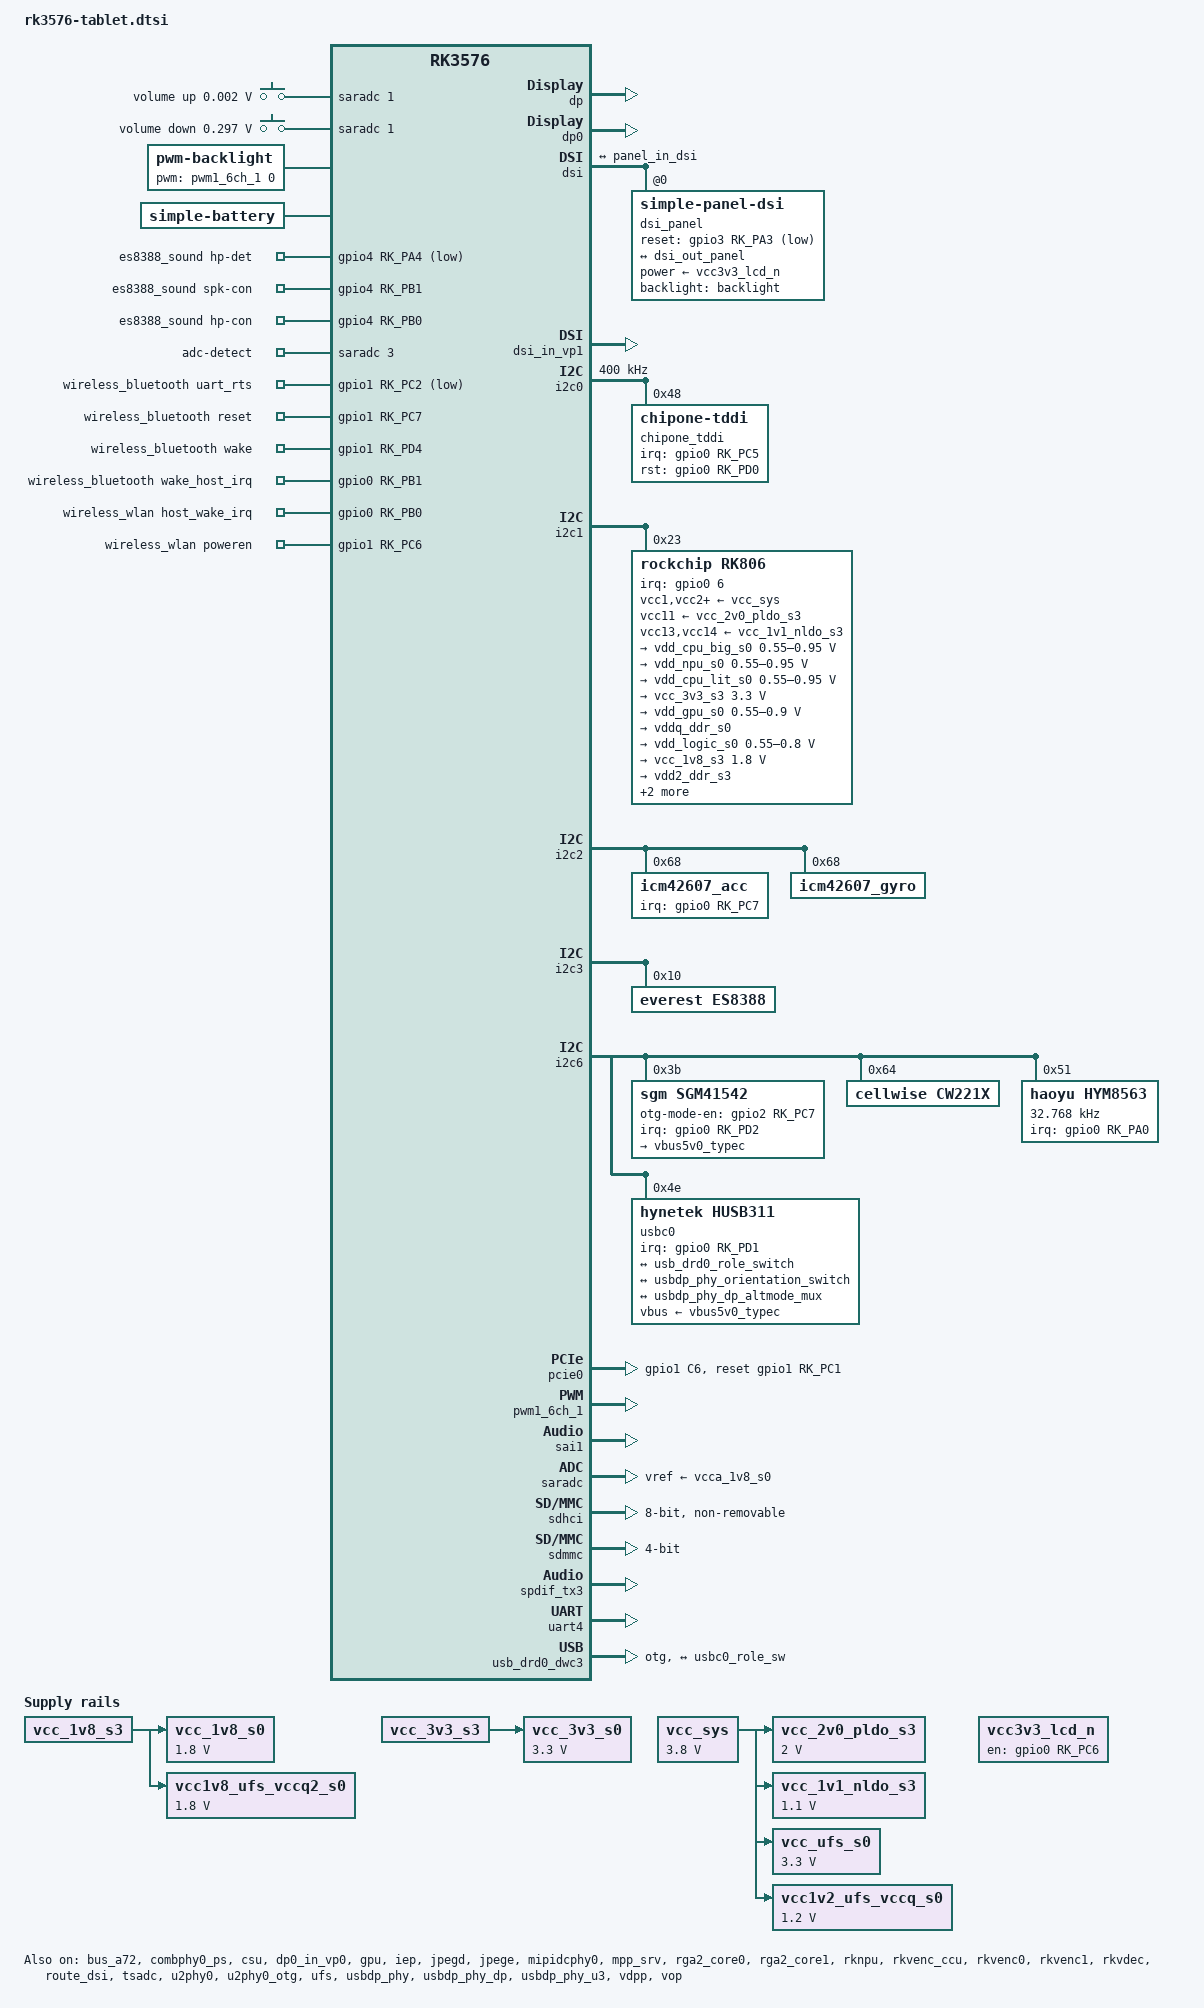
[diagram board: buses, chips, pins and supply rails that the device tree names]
// SPDX-License-Identifier: (GPL-2.0+ OR MIT)
/*
 * Copyright (c) 2024 Rockchip Electronics Co., Ltd.
 *
 */

/dts-v1/;

#include <dt-bindings/gpio/gpio.h>
#include <dt-bindings/pwm/pwm.h>
#include <dt-bindings/pinctrl/rockchip.h>
#include <dt-bindings/input/rk-input.h>
#include <dt-bindings/display/drm_mipi_dsi.h>
#include <dt-bindings/display/rockchip_vop.h>
#include <dt-bindings/sensor-dev.h>
#include <dt-bindings/usb/pd.h>
#include "rk3576.dtsi"

/ {
	adc_keys: adc-keys {
		compatible = "adc-keys";
		io-channels = <&saradc 1>;
		io-channel-names = "buttons";
		keyup-threshold-microvolt = <1800000>;
		poll-interval = <100>;

		vol-up-key {
			label = "volume up";
			linux,code = <KEY_VOLUMEUP>;
			press-threshold-microvolt = <1750>;
		};

		vol-down-key {
			label = "volume down";
			linux,code = <KEY_VOLUMEDOWN>;
			press-threshold-microvolt = <297500>;
		};
	};

	backlight: backlight {
		compatible = "pwm-backlight";
		pwms = <&pwm1_6ch_1 0 25000 0>;
		brightness-levels = <
			  0  20  20  21  21  22  22  23
			 23  24  24  25  25  26  26  27
			 27  28  28  29  29  30  30  31
			 31  32  32  33  33  34  34  35
			 35  36  36  37  37  38  38  39
			 40  41  42  43  44  45  46  47
			 48  49  50  51  52  53  54  55
			 56  57  58  59  60  61  62  63
			 64  65  66  67  68  69  70  71
			 72  73  74  75  76  77  78  79
			 80  81  82  83  84  85  86  87
			 88  89  90  91  92  93  94  95
			 96  97  98  99 100 101 102 103
			104 105 106 107 108 109 110 111
			112 113 114 115 116 117 118 119
			120 121 122 123 124 125 126 127
			128 129 130 131 132 133 134 135
			136 137 138 139 140 141 142 143
			144 145 146 147 148 149 150 151
			152 153 154 155 156 157 158 159
			160 161 162 163 164 165 166 167
			168 169 170 171 172 173 174 175
			176 177 178 179 180 181 182 183
			184 185 186 187 188 189 190 191
			192 193 194 195 196 197 198 199
			200 201 202 203 204 205 206 207
			208 209 210 211 212 213 214 215
			216 217 218 219 220 221 222 223
			224 225 226 227 228 229 230 231
			232 233 234 235 236 237 238 239
			240 241 242 243 244 245 246 247
			248 249 250 251 252 253 254 255
		>;
		default-brightness-level = <200>;
	};

	bat: battery {
		compatible = "simple-battery";
		charge-full-design-microamp-hours = <8000000>;
		precharge-current-microamp = <180000>;
		precharge-upper-limit-microvolt = <3600000>;
		charge-term-current-microamp = <300000>;
		constant-charge-current-max-microamp = <1600000>;
		constant-charge-voltage-max-microvolt = <4350000>;
		factory-internal-resistance-micro-ohms = <180>;
		voltage-max-design-microvolt = <4350000>;
		voltage-min-design-microvolt = <3000000>;
	};

	charge-animation {
		compatible = "rockchip,uboot-charge";
		rockchip,uboot-charge-on = <1>;
		rockchip,android-charge-on = <0>;
		rockchip,uboot-low-power-voltage = <3450>;
		rockchip,screen-on-voltage = <3500>;
		rockchip,uboot-exit-charge-level = <2>;
		rockchip,uboot-exit-charge-voltage = <3500>;
		rockchip,uboot-exit-charge-auto = <1>;
		status = "okay";
	};

	charger-manager {
		compatible = "rockchip-charger-manager";
		cm-name = "battery";
		cm-poll-mode = <2>;
		cm-poll-interval = <1000>;

		cm-chargers = "sgm4154x-charger";
		cm-chargers-phandle = <&usbc0>;
		cm-fuel-gauge = "cw221X-bat";
		monitored-battery = <&bat>;
		extcon = <&u2phy0>;
		cm-jeita-temp-charge-table = <10 45 1600000 4350000>;
	};

	dp0_sound: dp0-sound {
		compatible = "rockchip,hdmi";
		rockchip,mclk-fs = <512>;
		rockchip,card-name = "rockchip-dp0";
		rockchip,cpu = <&spdif_tx3>;
		rockchip,codec = <&dp0 1>;
		rockchip,jack-det;
	};

	es8388_sound: es8388-sound {
		status = "okay";
		compatible = "rockchip,multicodecs-card";
		rockchip,card-name = "rockchip-es8388";
		hp-det-gpio = <&gpio4 RK_PA4 GPIO_ACTIVE_LOW>;
		io-channels = <&saradc 3>;
		io-channel-names = "adc-detect";
		keyup-threshold-microvolt = <1800000>;
		poll-interval = <100>;
		spk-con-gpio = <&gpio4 RK_PB1 GPIO_ACTIVE_HIGH>;
		hp-con-gpio = <&gpio4 RK_PB0 GPIO_ACTIVE_HIGH>;
		rockchip,format = "i2s";
		rockchip,mclk-fs = <256>;
		rockchip,cpu = <&sai1>;
		rockchip,codec = <&es8388>;
		rockchip,audio-routing =
			"Headphone", "LOUT1",
			"Headphone", "ROUT1",
			"Speaker", "LOUT2",
			"Speaker", "ROUT2",
			"Headphone", "Headphone Power",
			"Headphone", "Headphone Power",
			"Speaker", "Speaker Power",
			"Speaker", "Speaker Power",
			"LINPUT1", "Main Mic",
			"LINPUT2", "Main Mic",
			"RINPUT1", "Headset Mic",
			"RINPUT2", "Headset Mic";
		pinctrl-names = "default";
		pinctrl-0 = <&hp_det>;
		play-pause-key {
			label = "playpause";
			linux,code = <KEY_PLAYPAUSE>;
			press-threshold-microvolt = <2000>;
		};
	};

	vcc_sys: vcc-sys {
		compatible = "regulator-fixed";
		regulator-name = "vcc_sys";
		regulator-always-on;
		regulator-boot-on;
		regulator-min-microvolt = <3800000>;
		regulator-max-microvolt = <3800000>;
	};

	vcc_2v0_pldo_s3: vcc-2v0-pldo-s3 {
		compatible = "regulator-fixed";
		regulator-name = "vcc_2v0_pldo_s3";
		regulator-boot-on;
		regulator-always-on;
		regulator-min-microvolt = <2000000>;
		regulator-max-microvolt = <2000000>;
		vin-supply = <&vcc_sys>;
	};

	vcc_1v1_nldo_s3: vcc-1v1-nldo-s3 {
		compatible = "regulator-fixed";
		regulator-name = "vcc_1v1_nldo_s3";
		regulator-boot-on;
		regulator-always-on;
		regulator-min-microvolt = <1100000>;
		regulator-max-microvolt = <1100000>;
		vin-supply = <&vcc_sys>;
	};

	vcc_1v8_s0: vcc-1v8-s0 {
		compatible = "regulator-fixed";
		regulator-name = "vcc_1v8_s0";
		regulator-boot-on;
		regulator-always-on;
		regulator-min-microvolt = <1800000>;
		regulator-max-microvolt = <1800000>;
		vin-supply = <&vcc_1v8_s3>;
	};

	vcc_3v3_s0: vcc-3v3-s0 {
		compatible = "regulator-fixed";
		regulator-name = "vcc_3v3_s0";
		regulator-boot-on;
		regulator-always-on;
		regulator-min-microvolt = <3300000>;
		regulator-max-microvolt = <3300000>;
		vin-supply = <&vcc_3v3_s3>;
	};

	vcc3v3_lcd_n: vcc3v3-lcd0-n {
		compatible = "regulator-fixed";
		regulator-name = "vcc3v3_lcd_n";
		regulator-boot-on;
		enable-active-high;
		gpio = <&gpio0 RK_PC6 GPIO_ACTIVE_HIGH>;
		regulator-state-mem {
			regulator-off-in-suspend;
		};
	};

	vcc_ufs_s0: vcc-ufs-s0 {
		compatible = "regulator-fixed";
		regulator-name = "vcc_ufs_s0";
		regulator-boot-on;
		regulator-always-on;
		regulator-min-microvolt = <3300000>;
		regulator-max-microvolt = <3300000>;
		vin-supply = <&vcc_sys>;
	};

	vcc1v8_ufs_vccq2_s0: vcc1v8-ufs-vccq2-s0 {
		compatible = "regulator-fixed";
		regulator-name = "vcc1v8_ufs_vccq2_s0";
		regulator-boot-on;
		regulator-always-on;
		regulator-min-microvolt = <1800000>;
		regulator-max-microvolt = <1800000>;
		vin-supply = <&vcc_1v8_s3>;
	};

	vcc1v2_ufs_vccq_s0: vcc1v2-ufs-vccq-s0 {
		compatible = "regulator-fixed";
		regulator-name = "vcc1v2_ufs_vccq_s0";
		regulator-boot-on;
		regulator-always-on;
		regulator-min-microvolt = <1200000>;
		regulator-max-microvolt = <1200000>;
		vin-supply = <&vcc_sys>;
	};

	wireless_bluetooth: wireless-bluetooth {
		compatible = "bluetooth-platdata";
		bt_port = "/dev/ttyS4";
		uart_rts_gpios = <&gpio1 RK_PC2 GPIO_ACTIVE_LOW>;
		pinctrl-names = "default", "rts_gpio";
		pinctrl-0 = <&uart4m1_rtsn>;
		pinctrl-1 = <&uart4_gpios>;
		BT,reset_gpio    = <&gpio1 RK_PC7 GPIO_ACTIVE_HIGH>;
		BT,wake_gpio     = <&gpio1 RK_PD4 GPIO_ACTIVE_HIGH>;
		BT,wake_host_irq = <&gpio0 RK_PB1 GPIO_ACTIVE_HIGH>;
		status = "okay";
	};

	wireless_wlan: wireless-wlan {
		compatible = "wlan-platdata";
		wifi_chip_type = "ap6275p";
		pinctrl-names = "default";
		pinctrl-0 = <&wifi_host_wake_irq>;
		WIFI,host_wake_irq = <&gpio0 RK_PB0 GPIO_ACTIVE_HIGH>;
		WIFI,poweren_gpio = <&gpio1 RK_PC6 GPIO_ACTIVE_HIGH>;
		status = "okay";
	};
};

&bus_a72 {
	bus-supply = <&vdd_logic_s0>;
	pvtm-supply = <&vdd_logic_s0>;
	status = "okay";
};

&combphy0_ps {
	status = "okay";
};

&cpu_l0 {
	cpu-supply = <&vdd_cpu_lit_s0>;
};

&cpu_b0 {
	cpu-supply = <&vdd_cpu_big_s0>;
};

&csu {
	status = "okay";
};

&dp {
	status = "okay";
};

&dp0 {
	status = "okay";
};

&dp0_in_vp0 {
	status = "okay";
};

&dsi {
	status = "okay";
	// auto-calculation-mode;
	rockchip,lane-rate = <1150>;
	dsi_panel: panel@0 {
		status = "okay";
		compatible = "simple-panel-dsi";
		reg = <0>;
		backlight = <&backlight>;
		power-supply = <&vcc3v3_lcd_n>;
		//enable-gpios = <&gpio0 RK_PC6 GPIO_ACTIVE_HIGH>;
		reset-gpios = <&gpio3 RK_PA3 GPIO_ACTIVE_LOW>;

		pinctrl-names = "default";
		pinctrl-0 = <&lcd_enable_gpio>, <&lcd_rst_gpio>;

		prepare-delay-ms = <40>;
		reset-delay-ms = <60>;
		init-delay-ms = <80>;
		stbyb-delay-ms = <20>;
		enable-delay-ms = <60>;
		disable-delay-ms = <20>;
		unprepare-delay-ms = <20>;
		width-mm = <135>;
		height-mm = <216>;
		dsi,flags = <(MIPI_DSI_MODE_VIDEO | MIPI_DSI_MODE_VIDEO_BURST |
			      MIPI_DSI_MODE_LPM | MIPI_DSI_MODE_NO_EOT_PACKET | MIPI_DSI_CLOCK_NON_CONTINUOUS)>;
		dsi,format = <MIPI_DSI_FMT_RGB888>;
		dsi,lanes  = <4>;
		panel-init-sequence = [
			39 00 03 F0 5A 59
			39 00 03 F1 A5 A6
			39 00 1F B2 06 05 89 8A 77 44 85 89 22 B7 B7 B7 B7 B7 B7 B7 B7 B7 B7 B7 B7 00 00 00 00 00 00 00 55 11
			39 00 1E B3 73 05 01 05 81 B7 00 00 B7 00 00 11 34 01 01 01 01 00 00 00 00 00 00 00 03 06 80 80 01
			39 00 20 B4 0D 1F 0D 1F 56 26 01 3B 00 22 00 22 00 00 00 01 02 13 20 30 05 90 23 20 40 11 10 20 00 00 00
			39 00 20 B5 25 24 81 00 00 A8 A9 00 0C 0D 0E 0F 10 11 12 13 23 22 00 00 00 00 00 00 00 00 00 00 FF FF FC
			39 00 20 B6 25 24 81 00 00 A8 A9 00 0C 0D 0E 0F 10 11 12 13 23 22 00 00 00 00 00 00 00 00 00 00 FF FF FC
			39 00 1F B7 00 03 00 00 00 00 00 00 00 00 00 00 00 00 00 00 00 00 00 00 00 00 00 00 00 AA AA AA AA A0
			39 00 1F B8 00 03 00 00 00 00 00 00 00 00 00 00 00 00 00 00 00 00 00 00 00 00 00 00 00 AA AA AA AA A0
			39 00 1A B9 01 55 55 55 55 55 50 55 55 55 55 55 50 55 55 55 55 55 50 55 55 55 55 55 50
			39 00 10 BB 01 02 03 0A 04 13 14 12 16 5C 00 15 16 03 00
			39 00 1A BC FE F8 F0 00 00 00 00 04 00 05 80 02 23 00 C9 99 99 00 C4 09 C3 86 03 2E 11
			39 00 08 BD 00 23 42 52 52 1F 00
			39 00 18 BE 5C 48 64 46 0A 88 58 33 33 33 93 00 DD DD 00 00 00 00 B2 AF B2 AF 00
			39 00 0B BF 0C 19 0C 19 00 11 22 04 5D 07
			39 00 17 C0 40 90 17 12 34 F5 67 89 FF FF FF FF FF 3F 00 FF 00 CC 02 00 01 B3
			39 00 17 C1 00 96 00 28 00 28 04 28 28 04 C7 80 0F 00 C1 22 7F 80 10 FF 0F E7
			15 00 02 C2 00
			39 00 21 C3 00 FF 42 4D 01 00 00 00 00 00 00 00 00 B9 10 10 2A 2A 2A 2A 2A 2A 2A 2A 40 00 00 00 00 00 00 00
			39 00 0F C4 0C 35 28 49 00 3F 00 50 00 1F 00 A2 F0 E7
			39 00 21 C5 03 13 10 56 5D 38 04 05 08 04 19 00 B4 2C 2B 2B AF AF 20 00 02 00 80 0C 0C 06 13 64 FF 03 20 FF
			39 00 08 C8 42 00 48 EC E0 00 23
			39 00 05 D5 01 30 D8 10
			39 00 07 D7 3F 04 0A 00 00 0E
			//39 01 04 89 57 57 11
			39 00 1E C7 76 54 32 22 34 56 77 77 20 76 54 32 22 34 56 77 77 20 42 00 21 FF FF 04 04 03 0E 07 00
			39 00 21 80 E8 D5 B8 A0 8A 77 67 59 4C 20 FD E1 C9 B0 99 6F 4C 26 FF FC D6 AF 85 54 16 D3 AC 76 6A 59 46 37
			39 00 21 81 E8 D5 B5 9B 86 73 63 54 46 1A F8 DC C4 AB 94 6B 48 21 FA F8 D2 AB 81 51 14 D1 AA 74 68 56 44 36
			39 00 21 82 E8 D5 B6 9D 88 75 65 56 49 1D FA DE C6 AD 96 6D 4A 23 FC FA D4 AD 83 52 15 D2 AB 75 69 57 45 36
			39 00 1A 83 09 2C 1D 0A 00 2B 1C 09 00 2B 1C 09 00 28 18 08 00 28 18 08 00 28 18 08 00
			39 00 1C 84 FF FF FA AA A5 55 40 00 00 FF FF FA AA A5 55 40 00 00 FF FF FA AA A5 55 40 00 00
			39 00 03 F1 5A 59
			39 00 03 F0 A5 A6
			15 00 02 35 00
			05 78 01 11
			05 0A 01 29
			15 00 02 AC 05
		];

		panel-exit-sequence = [
			15 01 02 AC 0A
			05 10 01 28
			05 78 01 10
		];

		disp_timings0: display-timings {
			native-mode = <&dsi_timing0>;
			dsi_timing0: timing0 {
				clock-frequency = <162000000>;
				hactive = <1200>;
				vactive = <1920>;
				hback-porch = <40>;
				hfront-porch = <40>;
				vback-porch = <40>;
				vfront-porch = <150>;
				hsync-len = <4>;
				vsync-len = <4>;
				hsync-active = <0>;
				vsync-active = <0>;
				de-active = <0>;
				pixelclk-active = <0>;
			};
		};

		ports {
			#address-cells = <1>;
			#size-cells = <0>;

			port@0 {
				reg = <0>;
				panel_in_dsi: endpoint {
					remote-endpoint = <&dsi_out_panel>;
				};
			};
		};
	};

	ports {
		#address-cells = <1>;
		#size-cells = <0>;

		port@1 {
			reg = <1>;
			dsi_out_panel: endpoint {
				remote-endpoint = <&panel_in_dsi>;
			};
		};
	};
};

&dsi_in_vp1 {
	status = "okay";
};

&gpu {
	mali-supply = <&vdd_gpu_s0>;
	status = "okay";
};

&i2c0 {
	pinctrl-0 = <&i2c0m1_xfer>;
	clock-frequency = <400000>;
	status = "okay";

	chipone_tddi: chipone_tddi@48 {
		status = "okay";
		compatible = "chipone-tddi";
		reg = <0x48>;
		pinctrl-names = "default";
		pinctrl-0 = <&touch_gpio>;
		chipone,irq-gpio = <&gpio0 RK_PC5 IRQ_TYPE_LEVEL_LOW>;
		chipone,rst-gpio = <&gpio0 RK_PD0 GPIO_ACTIVE_HIGH>;
		//vdd_name = "vdd28";
		chipone,x-res = <1200>;
		chipone,y-res = <1920>;

		/* Charger detect */
		chipone,touch-charger-detect-enable;
		chipone,touch-charger-detect-type = "notify"; /* notify, poll */
		chipone,touch-charger-detect-psy-name = "charger";
		chipone,touch-charger-detect-psp = "POWER_SUPPLY_PROP_ONLINE";
		chipone,touch-charger-detect-psp-poll-interval = <1000>;

		/* Earjack detect */
		chipone,touch-earjack-detect-enable;
		chipone,touch-earjack-state-filepath = "/sys/bus/platform/drivers/Accdet_Driver/state";
		chipone,touch-earjack-poll-interval = <1000>;

		rockchip,panel-notifier = <&dsi_panel>;
	};
};

&i2c1 {
	status = "okay";

	rk806: pmic@23 {
		compatible = "rockchip,rk806";
		reg = <0x23>;

		interrupt-parent = <&gpio0>;
		interrupts = <6 IRQ_TYPE_LEVEL_LOW>;

		pinctrl-names = "default", "pmic-power-off";
		pinctrl-0 = <&pmic_pins>, <&rk806_dvs1_null>, <&rk806_dvs2_null>, <&rk806_dvs3_null>;
		pinctrl-1 = <&rk806_dvs1_pwrdn>;

		/* 2800mv-3500mv */
		low_voltage_threshold = <3000>;
		/* 2700mv-3400mv */
		shutdown_voltage_threshold = <2700>;
		/* 140 160 */
		shutdown_temperture_threshold = <160>;
		hotdie_temperture_threshold = <115>;
		/* shutdown sequence */
		shutdown-sequence = <2 2 2 0 2 0 2 1 1 2
					2 2 2 2 2
					1 0 0 0 0 2>;

		/* low power forced shutdown sequence */
		vb-shutdown-sequence = <2 2 2 0 2 0 2 0 0 2
					2 2 2 2 2
					0 0 0 0 0 2>;

		/* PWRON_ON_TIME: 0:500mS; 1:20mS */
		pwron-on-time-500ms;

		/* 0: restart PMU;
		 * 1: reset all the power off reset registers,
		 *    forcing the state to switch to ACTIVE mode;
		 * 2: Reset all the power off reset registers,
		 *    forcing the state to switch to ACTIVE mode,
		 *    and simultaneously pull down the RESETB PIN for 5mS before releasing
		 */
		pmic-reset-func = <1>;
		/* buck5 external feedback resister disable */
		buck5-feedback-disable;

		vcc1-supply = <&vcc_sys>;
		vcc2-supply = <&vcc_sys>;
		vcc3-supply = <&vcc_sys>;
		vcc4-supply = <&vcc_sys>;
		vcc5-supply = <&vcc_sys>;
		vcc6-supply = <&vcc_sys>;
		vcc7-supply = <&vcc_sys>;
		vcc8-supply = <&vcc_sys>;
		vcc9-supply = <&vcc_sys>;
		vcc10-supply = <&vcc_sys>;
		vcc11-supply = <&vcc_2v0_pldo_s3>;
		vcc12-supply = <&vcc_sys>;
		vcc13-supply = <&vcc_1v1_nldo_s3>;
		vcc14-supply = <&vcc_1v1_nldo_s3>;
		vcca-supply = <&vcc_sys>;

		pwrkey {
			status = "okay";
		};

		pinctrl_rk806: pinctrl_rk806 {
			gpio-controller;
			#gpio-cells = <2>;

			rk806_dvs1_null: rk806_dvs1_null {
				pins = "gpio_pwrctrl2";
				function = "pin_fun0";
			};

			rk806_dvs1_slp: rk806_dvs1_slp {
				pins = "gpio_pwrctrl1";
				function = "pin_fun1";
			};

			rk806_dvs1_pwrdn: rk806_dvs1_pwrdn {
				pins = "gpio_pwrctrl1";
				function = "pin_fun2";
			};

			rk806_dvs1_rst: rk806_dvs1_rst {
				pins = "gpio_pwrctrl1";
				function = "pin_fun3";
			};

			rk806_dvs2_null: rk806_dvs2_null {
				pins = "gpio_pwrctrl2";
				function = "pin_fun0";
			};

			rk806_dvs2_slp: rk806_dvs2_slp {
				pins = "gpio_pwrctrl2";
				function = "pin_fun1";
			};

			rk806_dvs2_pwrdn: rk806_dvs2_pwrdn {
				pins = "gpio_pwrctrl2";
				function = "pin_fun2";
			};

			rk806_dvs2_rst: rk806_dvs2_rst {
				pins = "gpio_pwrctrl2";
				function = "pin_fun3";
			};

			rk806_dvs2_dvs: rk806_dvs2_dvs {
				pins = "gpio_pwrctrl2";
				function = "pin_fun4";
			};

			rk806_dvs2_gpio: rk806_dvs2_gpio {
				pins = "gpio_pwrctrl2";
				function = "pin_fun5";
			};

			rk806_dvs3_null: rk806_dvs3_null {
				pins = "gpio_pwrctrl3";
				function = "pin_fun0";
			};

			rk806_dvs3_slp: rk806_dvs3_slp {
				pins = "gpio_pwrctrl3";
				function = "pin_fun1";
			};

			rk806_dvs3_pwrdn: rk806_dvs3_pwrdn {
				pins = "gpio_pwrctrl3";
				function = "pin_fun2";
			};

			rk806_dvs3_rst: rk806_dvs3_rst {
				pins = "gpio_pwrctrl3";
				function = "pin_fun3";
			};

			rk806_dvs3_dvs: rk806_dvs3_dvs {
				pins = "gpio_pwrctrl3";
				function = "pin_fun4";
			};

			rk806_dvs3_gpio: rk806_dvs3_gpio {
				pins = "gpio_pwrctrl3";
				function = "pin_fun5";
			};
		};

		regulators {
			vdd_cpu_big_s0: DCDC_REG1 {
				regulator-always-on;
				regulator-boot-on;
				regulator-init-microvolt = <850000>;
				regulator-min-microvolt = <550000>;
				regulator-max-microvolt = <950000>;
				regulator-ramp-delay = <12500>;
				regulator-name = "vdd_cpu_big_s0";
				regulator-enable-ramp-delay = <400>;
				regulator-state-mem {
					regulator-off-in-suspend;
				};
			};

			vdd_npu_s0: DCDC_REG2 {
				regulator-always-on;
				regulator-boot-on;
				regulator-min-microvolt = <550000>;
				regulator-max-microvolt = <950000>;
				regulator-ramp-delay = <12500>;
				regulator-name = "vdd_npu_s0";
				regulator-state-mem {
					regulator-off-in-suspend;
				};
			};

			vdd_cpu_lit_s0: DCDC_REG3 {
				regulator-always-on;
				regulator-boot-on;
				regulator-init-microvolt = <850000>;
				regulator-min-microvolt = <550000>;
				regulator-max-microvolt = <950000>;
				regulator-ramp-delay = <12500>;
				regulator-name = "vdd_cpu_lit_s0";
				regulator-state-mem {
					regulator-off-in-suspend;
					regulator-suspend-microvolt = <750000>;
				};
			};

			vcc_3v3_s3: DCDC_REG4 {
				regulator-always-on;
				regulator-boot-on;
				regulator-min-microvolt = <3300000>;
				regulator-max-microvolt = <3300000>;
				regulator-name = "vcc_3v3_s3";
				regulator-state-mem {
					regulator-on-in-suspend;
					regulator-suspend-microvolt = <3300000>;
				};
			};

			vdd_gpu_s0: DCDC_REG5 {
				regulator-boot-on;
				regulator-init-microvolt = <750000>;
				regulator-min-microvolt = <550000>;
				regulator-max-microvolt = <900000>;
				regulator-ramp-delay = <12500>;
				regulator-name = "vdd_gpu_s0";
				regulator-enable-ramp-delay = <400>;
				regulator-state-mem {
					regulator-off-in-suspend;
					regulator-suspend-microvolt = <850000>;
				};
			};

			vddq_ddr_s0: DCDC_REG6 {
				regulator-always-on;
				regulator-boot-on;
				regulator-name = "vddq_ddr_s0";
				regulator-state-mem {
					regulator-off-in-suspend;
				};
			};

			vdd_logic_s0: vdd_log_mem_s0: DCDC_REG7 {
				regulator-always-on;
				regulator-boot-on;
				regulator-init-microvolt = <750000>;
				regulator-min-microvolt = <550000>;
				regulator-max-microvolt = <800000>;
				regulator-name = "vdd_logic_s0";
				regulator-state-mem {
					regulator-off-in-suspend;
				};
			};

			vcc_1v8_s3: DCDC_REG8 {
				regulator-always-on;
				regulator-boot-on;
				regulator-min-microvolt = <1800000>;
				regulator-max-microvolt = <1800000>;
				regulator-name = "vcc_1v8_s3";
				regulator-state-mem {
					regulator-on-in-suspend;
					regulator-suspend-microvolt = <1800000>;
				};
			};

			vdd2_ddr_s3: DCDC_REG9 {
				regulator-always-on;
				regulator-boot-on;
				regulator-name = "vdd2_ddr_s3";
				regulator-state-mem {
					regulator-on-in-suspend;
				};
			};

			vdd_ddr_s0: DCDC_REG10 {
				regulator-always-on;
				regulator-boot-on;
				regulator-min-microvolt = <550000>;
				regulator-max-microvolt = <1200000>;
				regulator-name = "vdd_ddr_s0";
				regulator-state-mem {
					regulator-off-in-suspend;
				};
			};

			vcca_1v8_s0: PLDO_REG1 {
				regulator-always-on;
				regulator-boot-on;
				regulator-min-microvolt = <1800000>;
				regulator-max-microvolt = <1800000>;
				regulator-name = "vcca_1v8_s0";
				regulator-state-mem {
					regulator-off-in-suspend;
				};
			};

			vcc_1v8_cam: PLDO_REG2 {
				regulator-boot-on;
				regulator-min-microvolt = <1800000>;
				regulator-max-microvolt = <1800000>;
				regulator-name = "vcc_1v8_cam";
				regulator-state-mem {
					regulator-off-in-suspend;
				};
			};

			vdda_1v2_s0: PLDO_REG3 {
				regulator-always-on;
				regulator-boot-on;
				regulator-min-microvolt = <1200000>;
				regulator-max-microvolt = <1200000>;
				regulator-name = "vdda_1v2_s0";
				regulator-state-mem {
					regulator-off-in-suspend;
				};
			};

			vcca3v3_codec: PLDO_REG4 {
				regulator-always-on;
				regulator-boot-on;
				regulator-min-microvolt = <3300000>;
				regulator-max-microvolt = <3300000>;
				regulator-name = "vcca3v3_codec";
				regulator-state-mem {
					regulator-off-in-suspend;
				};
			};

			vccio_sd_s0: PLDO_REG5 {
				regulator-always-on;
				regulator-boot-on;
				regulator-min-microvolt = <1800000>;
				regulator-max-microvolt = <3300000>;
				regulator-name = "vccio_sd_s0";
				regulator-state-mem {
					regulator-off-in-suspend;
				};
			};

			vcca1v8_pldo6_s3: PLDO_REG6 {
				regulator-always-on;
				regulator-boot-on;
				regulator-min-microvolt = <1800000>;
				regulator-max-microvolt = <1800000>;
				regulator-name = "vcca1v8_pldo6_s3";
				regulator-state-mem {
					regulator-on-in-suspend;
					regulator-suspend-microvolt = <1800000>;
				};
			};

			vdd_0v75_s3: NLDO_REG1 {
				regulator-always-on;
				regulator-boot-on;
				regulator-min-microvolt = <750000>;
				regulator-max-microvolt = <750000>;
				regulator-name = "vdd_0v75_s3";
				regulator-state-mem {
					regulator-on-in-suspend;
					regulator-suspend-microvolt = <750000>;
				};
			};

			vdda_ddr_pll_s0: NLDO_REG2 {
				regulator-always-on;
				regulator-boot-on;
				regulator-min-microvolt = <850000>;
				regulator-max-microvolt = <850000>;
				regulator-name = "vdda_ddr_pll_s0";
				regulator-state-mem {
					regulator-off-in-suspend;
				};
			};

			vdda0v75_hdmi_s0: NLDO_REG3 {
				regulator-always-on;
				regulator-boot-on;
				regulator-min-microvolt = <750000>;
				regulator-max-microvolt = <750000>;
				regulator-name = "vdda0v75_hdmi_s0";
				regulator-state-mem {
					regulator-off-in-suspend;
				};
			};

			vdda_0v85_s0: NLDO_REG4 {
				regulator-always-on;
				regulator-boot-on;
				regulator-min-microvolt = <850000>;
				regulator-max-microvolt = <850000>;
				regulator-name = "vdda_0v85_s0";
				regulator-state-mem {
					regulator-off-in-suspend;
				};
			};

			vdda_0v75_s0: NLDO_REG5 {
				regulator-always-on;
				regulator-boot-on;
				regulator-min-microvolt = <750000>;
				regulator-max-microvolt = <750000>;
				regulator-name = "vdda_0v75_s0";
				regulator-state-mem {
					regulator-off-in-suspend;
				};
			};
		};
	};
};

&i2c2 {
	status = "okay";

	icm42607_acc: icm_acc@68 {
		status = "okay";
		compatible = "icm42607_acc";
		reg = <0x68>;
		irq-gpio = <&gpio0 RK_PC7 IRQ_TYPE_EDGE_RISING>;
		irq_enable = <0>;
		poll_delay_ms = <30>;
		type = <SENSOR_TYPE_ACCEL>;
		layout = <2>;
	};

	icm42607_gyro: icm_gyro@68 {
		status = "okay";
		compatible = "icm42607_gyro";
		reg = <0x68>;
		poll_delay_ms = <30>;
		type = <SENSOR_TYPE_GYROSCOPE>;
		layout = <0>;
	};
};

&i2c3 {
	status = "okay";

	es8388: es8388@10 {
		status = "okay";
		#sound-dai-cells = <0>;
		compatible = "everest,es8388", "everest,es8323";
		reg = <0x10>;
		clocks = <&mclkout_sai1>;
		clock-names = "mclk";
		assigned-clocks = <&mclkout_sai1>;
		assigned-clock-rates = <12288000>;
		pinctrl-names = "default";
		pinctrl-0 = <&sai1m0_mclk>;
	};
};

&i2c6 {
	status = "okay";
	pinctrl-names = "default";
	pinctrl-0 = <&i2c6m3_xfer>;

	sgm41542: sgm41542@3b {
		compatible = "sgm,sgm41542";
		reg = <0x3b>;
		pinctrl-names = "default";
		pinctrl-0 = <&charger_ok>;
		interrupt-parent = <&gpio0>;
		interrupts = <RK_PD2 IRQ_TYPE_EDGE_FALLING>;
		otg-mode-en-gpios = <&gpio2 RK_PC7 GPIO_ACTIVE_HIGH>;
		input-voltage-limit-microvolt = <4500000>;
		input-current-limit-microamp = <3000000>;
		monitored-battery = <&bat>;
		regulators {
			vbus5v0_typec: vbus5v0-typec {
				regulator-compatible = "otg-vbus";
				regulator-name = "vbus5v0_typec";
			};
		};
	};

	cw221X@64 {
		compatible = "cellwise,cw221X";
		reg = <0x64>;
		status = "okay";
		cw,user_rsense = <2000>;
		cellwise,battery-profile = /bits/ 8
			<0x5A 0x00 0x00 0x00 0x00 0x00 0x00 0x00
			 0xAA 0xB4 0xB7 0xBB 0xA7 0x9F 0xE3 0xD6
			 0xD0 0xFF 0xF5 0xA4 0x89 0x6D 0x5B 0x51
			 0x48 0x47 0x45 0xCC 0xC5 0xD8 0x7E 0xD3
			 0xCD 0xCC 0xCB 0xCA 0xC3 0xBF 0xDD 0x9A
			 0xB7 0xB9 0xB0 0x99 0x8A 0x82 0x76 0x69
			 0x61 0x63 0x77 0x8E 0xA5 0x7F 0x55 0x5F
			 0x20 0x00 0xAB 0x10 0x00 0xA2 0xEC 0x00
			 0x00 0x00 0x64 0x26 0xB1 0xCE 0x00 0x00
			 0x00 0x00 0x00 0x00 0x00 0x00 0x00 0x11>;
	};

	hym8563: hym8563@51 {
		compatible = "haoyu,hym8563";
		reg = <0x51>;
		#clock-cells = <0>;
		clock-frequency = <32768>;
		clock-output-names = "hym8563";
		pinctrl-names = "default";
		pinctrl-0 = <&rtc_int>;

		interrupt-parent = <&gpio0>;
		interrupts = <RK_PA0 IRQ_TYPE_LEVEL_LOW>;
		wakeup-source;
	};

	usbc0: husb311@4e {
		compatible = "hynetek,husb311";
		reg = <0x4e>;
		interrupt-parent = <&gpio0>;
		interrupts = <RK_PD1 IRQ_TYPE_LEVEL_LOW>;
		pinctrl-names = "default";
		pinctrl-0 = <&usbc0_int>;
		vbus-supply = <&vbus5v0_typec>;
		status = "okay";

		port {
			usbc0_role_sw: endpoint {
				remote-endpoint = <&usb_drd0_role_switch>;
			};
		};

		usb_con: connector {
			compatible = "usb-c-connector";
			label = "USB-C";
			data-role = "dual";
			power-role = "dual";
			try-power-role = "sink";
			op-sink-microwatt = <1000000>;
			sink-pdos =
				<PDO_FIXED(5000, 3000, PDO_FIXED_USB_COMM)
				 PDO_FIXED(9000, 3000, PDO_FIXED_USB_COMM)
				 /*PDO_FIXED(12000, 3000, PDO_FIXED_USB_COMM)*/>;
			source-pdos =
				<PDO_FIXED(5000, 3000, PDO_FIXED_USB_COMM)>;

			altmodes {
				#address-cells = <1>;
				#size-cells = <0>;

				altmode@0 {
					reg = <0>;
					svid = <0xff01>;
					vdo = <0xffffffff>;
				};
			};

			ports {
				#address-cells = <1>;
				#size-cells = <0>;

				port@0 {
					reg = <0>;
					usbc0_orien_sw: endpoint {
						remote-endpoint = <&usbdp_phy_orientation_switch>;
					};
				};

				port@1 {
					reg = <1>;
					dp_altmode_mux: endpoint {
						remote-endpoint = <&usbdp_phy_dp_altmode_mux>;
					};
				};
			};
		};
	};
};

&iep {
	status = "okay";
};

&iep_mmu {
	status = "okay";
};

&jpegd {
	status = "okay";
};

&jpege {
	status = "okay";
};

&jpeg_mmu {
	status = "okay";
};

&mipidcphy0 {
	status = "okay";
};

&mpp_srv {
	status = "okay";
};

&pcie0 {
	reset-gpios = <&gpio1 RK_PC1 GPIO_ACTIVE_HIGH>;
	rockchip,skip-scan-in-resume;
	pinctrl-names = "default";
	pinctrl-0 = <&wifi_poweren_gpio>;
	status = "okay";
};

&pinctrl {
	charger {
		charger_ok: charger_ok {
			rockchip,pins =
				<0 RK_PD2 RK_FUNC_GPIO &pcfg_pull_up>,
				<2 RK_PC7 RK_FUNC_GPIO &pcfg_pull_up>;
		};
	};

	headphone {
		hp_det: hp-det {
			rockchip,pins = <4 RK_PA4 RK_FUNC_GPIO &pcfg_pull_up>;
		};
	};

	hym8563 {
		rtc_int: rtc-int {
			rockchip,pins = <0 RK_PA0 RK_FUNC_GPIO &pcfg_pull_up>;
		};
	};

	lcd {
		lcd_rst_gpio: lcd-rst-gpio {
			rockchip,pins = <3 RK_PA3 RK_FUNC_GPIO &pcfg_pull_none>;
		};

		lcd_enable_gpio: lcd-enable-gpio {
			rockchip,pins = <0 RK_PC6 RK_FUNC_GPIO &pcfg_pull_none>;
		};
	};

	touch {
		touch_gpio: touch-gpio {
			rockchip,pins =
				<0 RK_PD0 RK_FUNC_GPIO &pcfg_pull_up>,
				<0 RK_PC5 RK_FUNC_GPIO &pcfg_pull_up>;
		};
	};

	usb {
		usbc0_int: usbc0-int {
			rockchip,pins = <0 RK_PD1 RK_FUNC_GPIO &pcfg_pull_up>;
		};
	};

	wireless-bluetooth {
		uart4_gpios: uart4-gpios {
			rockchip,pins = <1 RK_PC2 RK_FUNC_GPIO &pcfg_pull_none>;
		};
	};

	wireless-wlan {
		wifi_host_wake_irq: wifi-host-wake-irq {
			rockchip,pins = <0 RK_PB0 RK_FUNC_GPIO &pcfg_pull_down>;
		};

		wifi_poweren_gpio: wifi-poweren-gpio {
			rockchip,pins = <1 RK_PC6 RK_FUNC_GPIO &pcfg_pull_up>;
		};
	};
};

&pwm1_6ch_1 {
	status = "okay";
	pinctrl-0 = <&pwm1m0_ch1>;
};

&rga2_core0 {
	status = "okay";
};

&rga2_core0_mmu {
	status = "okay";
};

&rga2_core1 {
	status = "okay";
};

&rga2_core1_mmu {
	status = "okay";
};

&rknpu {
	rknpu-supply = <&vdd_npu_s0>;
	status = "okay";
};

&rknpu_mmu {
	status = "okay";
};

&rkvenc_ccu {
	status = "okay";
};

&rkvenc0 {
	status = "okay";
};

&rkvenc0_mmu {
	status = "okay";
};

&rkvenc1 {
	status = "okay";
};

&rkvenc1_mmu {
	status = "okay";

};

&rkvdec {
	status = "okay";
};

&rkvdec_mmu {
	status = "okay";
};

&rockchip_suspend {
	status = "okay";
	rockchip,sleep-debug-en = <1>;

	rockchip,sleep-io-ret-config = <
		(0
		| RKPM_VCCIO3_RET_EN
		)
	>;
};

&route_dsi {
	status = "okay";
};

&sai1 {
	status = "okay";
	pinctrl-names = "default";
	pinctrl-0 = <&sai1m0_lrck
		     &sai1m0_sclk
		     &sai1m0_sdi0
		     &sai1m0_sdo0>;
};

&saradc {
	status = "okay";
	vref-supply = <&vcca_1v8_s0>;
};

&sdhci {
	bus-width = <8>;
	no-sdio;
	no-sd;
	non-removable;
	max-frequency = <200000000>;
	mmc-hs400-1_8v;
	mmc-hs400-enhanced-strobe;
	full-pwr-cycle-in-suspend;
	status = "okay";
};

&sdmmc {
	max-frequency = <200000000>;
	no-sdio;
	no-mmc;
	bus-width = <4>;
	cap-mmc-highspeed;
	cap-sd-highspeed;
	disable-wp;
	sd-uhs-sdr104;
	vqmmc-supply = <&vccio_sd_s0>;
	status = "okay";
};

&spdif_tx3 {
	status = "okay";
};

&tsadc {
	status = "okay";
};

&uart4 {
	status = "okay";
	pinctrl-names = "default";
	pinctrl-0 = <&uart4m1_xfer &uart4m1_ctsn>;
};

&u2phy0 {
	status = "okay";
};

&u2phy0_otg {
	status = "okay";
	rockchip,typec-vbus-det;
};

&u2phy1 {
	status = "disabled";
};

&u2phy1_otg {
	status = "disabled";
};

&ufs {
	vcc-supply = <&vcc_ufs_s0>;
	vccq-supply = <&vcc1v2_ufs_vccq_s0>;
	vccq2-supply = <&vcc1v8_ufs_vccq2_s0>;
	reset-gpios = <&gpio4 RK_PD0 GPIO_ACTIVE_HIGH>;
	status = "okay";
};

&usbdp_phy {
	status = "okay";
	orientation-switch;
	svid = <0xff01>;
	sbu1-dc-gpios = <&gpio4 RK_PC4 GPIO_ACTIVE_HIGH>;
	sbu2-dc-gpios = <&gpio4 RK_PC5 GPIO_ACTIVE_HIGH>;

	port {
		#address-cells = <1>;
		#size-cells = <0>;

		usbdp_phy_orientation_switch: endpoint@0 {
			reg = <0>;
			remote-endpoint = <&usbc0_orien_sw>;
		};

		usbdp_phy_dp_altmode_mux: endpoint@1 {
			reg = <1>;
			remote-endpoint = <&dp_altmode_mux>;
		};
	};
};

&usbdp_phy_dp {
	status = "okay";
};

&usbdp_phy_u3 {
	status = "okay";
};

&usb_drd0_dwc3 {
	status = "okay";
	dr_mode = "otg";
	usb-role-switch;
	port {
		usb_drd0_role_switch: endpoint {
			remote-endpoint = <&usbc0_role_sw>;
		};
	};
};

&usb_drd1_dwc3 {
	status = "disabled";
};

&vdpp {
	status = "okay";
};

&vop {
	status = "okay";
	vop-supply = <&vdd_logic_s0>;
};

&vop_mmu {
	status = "okay";
};

&vp1 {
	assigned-clocks = <&cru DCLK_VP1_SRC>;
	assigned-clock-parents = <&cru PLL_VPLL>;
};
